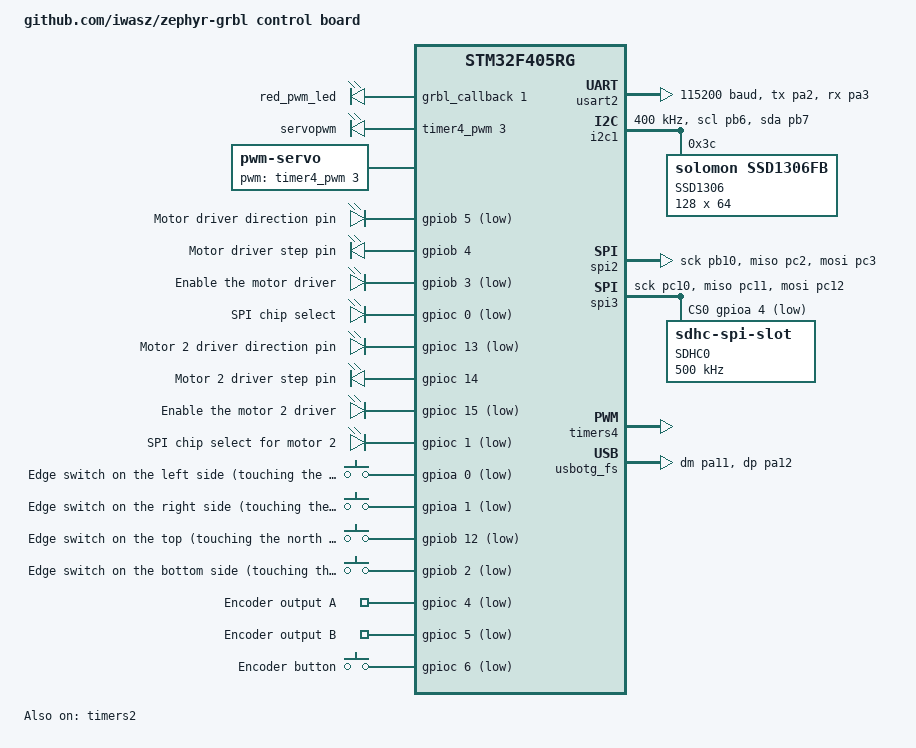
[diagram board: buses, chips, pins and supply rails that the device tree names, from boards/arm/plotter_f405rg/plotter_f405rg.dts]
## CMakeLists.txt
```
# SPDX-License-Identifier: Apache-2.0

list(APPEND ZEPHYR_EXTRA_MODULES
  ${CMAKE_CURRENT_SOURCE_DIR}/modules/hw_timer
)

cmake_minimum_required(VERSION 3.22.2)
set(BOARD_ROOT ${CMAKE_CURRENT_LIST_DIR})
find_package(Zephyr REQUIRED HINTS $ENV{ZEPHYR_BASE})
include(${ZEPHYR_BASE}/cmake/cfb.cmake NO_POLICY_SCOPE)
project(plotter)

include_directories (src)
include_directories (deps/TMC2130Stepper/src)
include_directories (deps/etl/include/)
include_directories (deps/gsl-lite/include)
include_directories (deps/gnea-grbl) # Warning! It has limits.h file which interferes with libc
include_directories (deps/compile-time-regular-expressions/include)
include_directories (deps/libstate/src)

add_definitions("-DDEFAULTS_ZEPHYR_GRBL_PLOTTER")

target_sources(app PRIVATE
    src/main.cc
    src/zephyrGrblPeripherals.cc
    src/stepperDriverSettings.cc
    src/grblState.cc
    src/sdCard.cc
    src/display.cc

    # deps/TMC2130Stepper/src/source/SW_SPI.cpp
    deps/TMC2130Stepper/src/source/TMC2130Stepper_CHOPCONF.cpp
    deps/TMC2130Stepper/src/source/TMC2130Stepper_COOLCONF.cpp
    deps/TMC2130Stepper/src/source/TMC2130Stepper_DRV_STATUS.cpp
    deps/TMC2130Stepper/src/source/TMC2130Stepper_GCONF.cpp
    deps/TMC2130Stepper/src/source/TMC2130Stepper_IHOLD_IRUN.cpp
    deps/TMC2130Stepper/src/source/TMC2130Stepper_MACROS.h
    deps/TMC2130Stepper/src/source/TMC2130Stepper_PWMCONF.cpp
    deps/TMC2130Stepper/src/source/TMC2130Stepper.cpp

    deps/gnea-grbl/grbl/coolant_control.c
    deps/gnea-grbl/grbl/eeprom.c
    deps/gnea-grbl/grbl/gcode.c
    deps/gnea-grbl/grbl/jog.c
    deps/gnea-grbl/grbl/limits.c
    deps/gnea-grbl/grbl/main.c
    deps/gnea-grbl/grbl/motion_control.c
    deps/gnea-grbl/grbl/nuts_bolts.c
    deps/gnea-grbl/grbl/planner.c
    deps/gnea-grbl/grbl/print.c
    deps/gnea-grbl/grbl/probe.c
    deps/gnea-grbl/grbl/protocol.c
    deps/gnea-grbl/grbl/report.c
    deps/gnea-grbl/grbl/serial.c
    deps/gnea-grbl/grbl/settings.c
    deps/gnea-grbl/grbl/spindle_control.c
    deps/gnea-grbl/grbl/stepper.c
    deps/gnea-grbl/grbl/system.c
)

set(gen_dir ${ZEPHYR_BINARY_DIR}/include/generated/)
generate_cfb_font_for_target(app fonts/oldschool-black-format.png ${gen_dir}/cfb_font_oldschool.h 7 8 --first 32 --last 126)
```

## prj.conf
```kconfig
CONFIG_SPI=y
CONFIG_GPIO=y
CONFIG_CONSOLE=y
CONFIG_UART_CONSOLE=y
CONFIG_SERIAL=y
CONFIG_SPI_ASYNC=y
CONFIG_SPI_STM32_INTERRUPT=y
CONFIG_SPI_STM32_DMA=n
CONFIG_PINCTRL=y
CONFIG_NEWLIB_LIBC=y
CONFIG_CPP=y
CONFIG_STD_CPP2A=y
CONFIG_REQUIRES_FULL_LIBCPP=y
CONFIG_GLIBCXX_LIBCPP=y
CONFIG_CPP_EXCEPTIONS=y
CONFIG_STD_CPP20=y

# CONFIG_BOOT_DELAY=1000
CONFIG_LOG=y
# CONFIG_NO_OPTIMIZATIONS=y
# CONFIG_DEBUG_OPTIMIZATIONS=y
CONFIG_SPEED_OPTIMIZATIONS=y
# CONFIG_HW_TIMER_LOG_LEVEL_DBG=y

CONFIG_USB_DEVICE_STACK=y
CONFIG_USB_DEVICE_PRODUCT="Zephyr GRBL plotter"
CONFIG_USB_DEVICE_MANUFACTURER="iwasz.pl"
CONFIG_USB_DRIVER_LOG_LEVEL_ERR=y
CONFIG_USB_DEVICE_LOG_LEVEL_ERR=y
CONFIG_USB_DEVICE_VID=0x20A0
CONFIG_USB_DEVICE_PID=0x41ff
CONFIG_USB_WORKQUEUE_STACK_SIZE=8192
# ??
CONFIG_UART_LINE_CTRL=y

# SD CARD over SPI link
CONFIG_DISK_ACCESS=y
CONFIG_FILE_SYSTEM=y
CONFIG_FAT_FILESYSTEM_ELM=y
CONFIG_PRINTK=y
CONFIG_SDHC=y
CONFIG_DISK_DRIVER_SDMMC=y
# CONFIG_SDMMC_OVER_SPI=y
CONFIG_FS_FATFS_LFN=y
CONFIG_MMC_STACK=y

CONFIG_MAIN_STACK_SIZE=8192
CONFIG_ISR_STACK_SIZE=8192
CONFIG_COMPILER_OPT="-Wall -Werror=return-type"
CONFIG_PWM=y
# CONFIG_PWM_LOG_LEVEL_DBG=y
CONFIG_DYNAMIC_INTERRUPTS=y

CONFIG_CBPRINTF_FP_SUPPORT=y
CONFIG_CBPRINTF_LIBC_SUBSTS=y
CONFIG_UART_ASYNC_API=n
CONFIG_UART_INTERRUPT_DRIVEN=y
CONFIG_DMA=n

CONFIG_HW_TIMER_DRIVER=y
CONFIG_APPLICATION_DEFINED_SYSCALL=y

CONFIG_SHELL=n
CONFIG_MAIN_THREAD_PRIORITY=13
# in ms.
CONFIG_TIMESLICE_SIZE=1
CONFIG_TIMESLICING=y

CONFIG_FLASH=y
CONFIG_FLASH_PAGE_LAYOUT=y
CONFIG_NVS=y
CONFIG_NVS_LOG_LEVEL_DBG=y
CONFIG_MPU_ALLOW_FLASH_WRITE=y
CONFIG_REBOOT=y

# CONFIG_BOOTLOADER_MCUBOOT=y
# CONFIG_MCUBOOT_GENERATE_CONFIRMED_IMAGE=y
# CONFIG_MCUBOOT_SIGNATURE_KEY_FILE="/home/iwasz/workspace/zephyrproject/bootloader/mcuboot/root-rsa-2048.pem"

CONFIG_SSD1306=y
CONFIG_I2C=y
CONFIG_SSD1306_SH1106_COMPATIBLE=y
CONFIG_DISPLAY=y
CONFIG_CFB_LOG_LEVEL_DBG=y
CONFIG_CHARACTER_FRAMEBUFFER=y
CONFIG_HEAP_MEM_POOL_SIZE=16384
CONFIG_DISPLAY_INIT_PRIORITY=99
```

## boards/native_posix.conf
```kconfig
CONFIG_SDL_DISPLAY_DEV_NAME="DISPLAY"
CONFIG_SDL_DISPLAY_X_RES=128
CONFIG_SDL_DISPLAY_Y_RES=64

CONFIG_STDOUT_CONSOLE=y

CONFIG_HEAP_MEM_POOL_SIZE=16384

CONFIG_DISPLAY=y

CONFIG_LOG=y

CONFIG_CFB_LOG_LEVEL_DBG=y
CONFIG_CHARACTER_FRAMEBUFFER=y
CONFIG_NO_OPTIMIZATIONS=y

CONFIG_SERIAL=y
CONFIG_UART_NATIVE_POSIX=y
CONFIG_NATIVE_UART_0_ON_OWN_PTY=y

CONFIG_CONSOLE=y
CONFIG_UART_CONSOLE=n
CONFIG_UART_NATIVE_WAIT_PTS_READY_ENABLE=y

CONFIG_SHELL=y
```

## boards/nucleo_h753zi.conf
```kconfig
CONFIG_SSD1306=y
CONFIG_I2C=y
CONFIG_SSD1306_SH1106_COMPATIBLE=y
```

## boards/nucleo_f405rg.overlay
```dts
/ {
	aliases {
		// USed for communication between GRBL and the host computer.
		grbluart = &cdc_acm;
		grblpwm =  &red_pwm_led;
	};

	pwmleds { // TODO remove this, as this is not used. PWM parametrers are set at run time using pwm_pin_set_usec (pwm, PWM_CHANNEL, PERIOD_USEC, 0, PWM_FLAGS);
		compatible = "pwm-leds";

		red_pwm_led: red_pwm_led {
			pwms = <&grbl_callback 1 4 PWM_POLARITY_NORMAL>;
		};
	};

	chosen {
		zephyr,code-partition = &slot0_partition;
	};

	motor1_pins { // Motor with the shorter cable.
		compatible = "gpio-leds";

		dir {
			gpios = <&gpioa 0 GPIO_ACTIVE_HIGH>;
			label = "Motor driver direction pin";
		};

		step {
			gpios = <&gpioa 1 GPIO_ACTIVE_HIGH>;
			label = "Motor driver step pin";
		};

		enable { // High state on CFG6 / EN pin turns off the curents completely. Thus Active low.
			gpios = <&gpiob 1 GPIO_ACTIVE_LOW>;
			label = "Enable the motor driver";
		};

		nss {
			gpios = <&gpiob 0 GPIO_ACTIVE_HIGH>;
			label = "SPI chip select";
		};
	};

	motor2_pins { // With the longer cable.
		compatible = "gpio-leds";

		dir {
			gpios = <&gpioc 1 GPIO_ACTIVE_LOW>;
			label = "Motor 2 driver direction pin";
		};

		step {
			gpios = <&gpioc 0 GPIO_ACTIVE_HIGH>;
			label = "Motor 2 driver step pin";
		};

		enable {
			gpios = <&gpioc 8 GPIO_ACTIVE_LOW>;
			label = "Enable the motor 2 driver";
		};

		nss {
			gpios = <&gpioc 6 GPIO_ACTIVE_HIGH>;
			label = "SPI chip select for motor 2";
		};
	};

	motorz_pins { // Currently not used
		compatible = "gpio-leds";

		dir {
			gpios = <&gpioe 10 GPIO_ACTIVE_HIGH>;
			label = "Motor 3 driver direction pin";
		};

		step {
			gpios = <&gpioe 12 GPIO_ACTIVE_HIGH>;
			label = "Motor 3 driver step pin";
		};

		enable {
			gpios = <&gpioe 14 GPIO_ACTIVE_LOW>;
			label = "Enable the motor 3 driver";
		};

		nss {
			gpios = <&gpioe 15 GPIO_ACTIVE_HIGH>;
			label = "SPI chip select for motor 3";
		};
	};

	edge_switch_pins {
		compatible = "gpio-keys";

		left {// Something wrong with this one
			gpios = <&gpiob 7 (GPIO_ACTIVE_LOW| GPIO_PULL_UP)>;
			label = "Edge switch on the left side (touching the west attachment)";
		};

		right {
			gpios = <&gpioa 15 (GPIO_ACTIVE_LOW| GPIO_PULL_UP)>;
			label = "Edge switch on the right side (touching the east attachment)";
		};

		top {
			gpios = <&gpiob 3 (GPIO_ACTIVE_LOW| GPIO_PULL_UP)>;
			label = "Edge switch on the top (touching the north attachment)";
		};

		bottom {
			gpios = <&gpioc 11 (GPIO_ACTIVE_LOW| GPIO_PULL_UP)>;
			label = "Edge switch on the bottom side (touching the pen holder)";
		};

		motor1_stall { // Currently not used
			gpios = <&gpioc 10 (GPIO_ACTIVE_HIGH | GPIO_PULL_DOWN)>;
			label = "Motor 1 stall diagnostic output. Detects when the motor stalls.";
		};

		motor2_stall { // Currently not used
			gpios = <&gpioc 12 (GPIO_ACTIVE_HIGH | GPIO_PULL_DOWN)>;
			label = "Motor 2 stall diagnostic output. Detects when the motor stalls.";
		};
	};
};

&i2c1 {
	status = "disabled";
};

&i2c2 {
	status = "disabled";
};

// SPI interface for SDIO
&spi2 {
	status = "okay";
	pinctrl-0 = <&spi2_sck_pb10 &spi2_mosi_pc3 &spi2_miso_pc2 &spi2_nss_pb12>;

	sdhc0: sdhc@0 {
		compatible = "zephyr,mmc-spi-slot";
		reg = <0>;
		status = "okay";
		label = "SDHC0";
		spi-max-frequency = <500000>;
	};
};

&timers4 {
	status = "okay";

	axis_z: pwm {
		status = "okay";
		st,prescaler = <40>; // When CPU@168 MHz, timer2 gets 84MHz. So tim. period is ~31ms. 1/(84MHz/40)*65535
		pinctrl-0 = <&tim4_ch3_pb8>;
	};
};

&timers2 {// Timer2 as well as timer5 are 32 bit.
	status = "okay";

	/*
	 * This node is defined as a child of timer node, becuase it references some properties
	 * of its parent. In this particular case it needs an IRQ number. Look for DT_IRQ_BY_IDX(DT_PARENT (...))
	 * in the code.
	 */
	grbl_callback: hw_timer {
		compatible = "st,stm32-hw-timer";
		status = "okay";
		st,prescaler = <10>; // 168MHz -> 84MHz to timer, prescaled by 10 == 8.4MHz. So min period == 1/8.4M, max period == (1/8.4M)*2^32
		label = "GRBL_CALLBACK";
		#pwm-cells = <3>;
	};
};

&clk_hsi {
	status = "okay";
};

&pll {
	div-m = <16>;
	mul-n = <336>;
	div-p = <2>;
	div-q = <7>;  /* 336 / 7 = 48 ! */
	clocks = <&clk_hsi>;
	status = "okay";
};

&rcc {
	clocks = <&pll>;
	clock-frequency = <DT_FREQ_M(168)>;
	ahb-prescaler = <1>;
	apb1-prescaler = <4>;
	apb2-prescaler = <2>;
};

zephyr_udc0: &usbotg_fs {
	pinctrl-0 = <&usb_otg_fs_dm_pa11 &usb_otg_fs_dp_pa12>;
	status = "okay";

	cdc_acm: mcdc_acm_uart0 {
		compatible = "zephyr,cdc-acm-uart";
		label = "CDC_ACM_0";
	};
};

// &flash0 {

	//     partitions {
		//         compatible = "fixed-partitions";
		//         #address-cells = <1>;
		//         #size-cells = <1>;

		//         boot_partition: partition@0 {
			//             label = "mcuboot";
			//             reg = <0x00000000 0x00008000>;
			//             read-only;
		//         };

		//         storage0_partition: partition@8000 {
			//             label = "storage0";
			//             reg = <0x00008000 0x0008000>;
		//         };
	//     };
// };
```

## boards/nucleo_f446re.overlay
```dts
/ {
	aliases {
		// USed for communication between GRBL and the host computer.
		grbluart = &cdc_acm;
		grblpwm =  &red_pwm_led;
	};

	pwmleds { // TODO remove this, as this is not used. PWM parametrers are set at run time using pwm_pin_set_usec (pwm, PWM_CHANNEL, PERIOD_USEC, 0, PWM_FLAGS);
		compatible = "pwm-leds";

		red_pwm_led: red_pwm_led {
			pwms = <&grbl_callback 1 4 PWM_POLARITY_NORMAL>;
		};
	};

	motor1_pins { // Motor with the shorter cable.
		compatible = "gpio-leds";

		dir {
			gpios = <&gpioa 0 GPIO_ACTIVE_HIGH>;
			label = "Motor driver direction pin";
		};

		step {
			gpios = <&gpioa 1 GPIO_ACTIVE_HIGH>;
			label = "Motor driver step pin";
		};

		enable { // High state on CFG6 / EN pin turns off the curents completely. Thus Active low.
			gpios = <&gpiob 1 GPIO_ACTIVE_LOW>;
			label = "Enable the motor driver";
		};

		nss {
			gpios = <&gpiob 0 GPIO_ACTIVE_HIGH>;
			label = "SPI chip select";
		};
	};

	motor2_pins { // With the longer cable.
		compatible = "gpio-leds";

		dir {
			gpios = <&gpioc 1 GPIO_ACTIVE_LOW>;
			label = "Motor 2 driver direction pin";
		};

		step {
			gpios = <&gpioc 0 GPIO_ACTIVE_HIGH>;
			label = "Motor 2 driver step pin";
		};

		enable {
			gpios = <&gpioc 8 GPIO_ACTIVE_LOW>;
			label = "Enable the motor 2 driver";
		};

		nss {
			gpios = <&gpioc 6 GPIO_ACTIVE_HIGH>;
			label = "SPI chip select for motor 2";
		};
	};

	motorz_pins { // Currently not used
		compatible = "gpio-leds";

		dir {
			gpios = <&gpioe 10 GPIO_ACTIVE_HIGH>;
			label = "Motor 3 driver direction pin";
		};

		step {
			gpios = <&gpioe 12 GPIO_ACTIVE_HIGH>;
			label = "Motor 3 driver step pin";
		};

		enable {
			gpios = <&gpioe 14 GPIO_ACTIVE_LOW>;
			label = "Enable the motor 3 driver";
		};

		nss {
			gpios = <&gpioe 15 GPIO_ACTIVE_HIGH>;
			label = "SPI chip select for motor 3";
		};
	};

	edge_switch_pins {
		compatible = "gpio-keys";

		left {// Something wrong with this one
			gpios = <&gpiob 7 (GPIO_ACTIVE_LOW| GPIO_PULL_UP)>;
			label = "Edge switch on the left side (touching the west attachment)";
		};

		right {
			gpios = <&gpioa 15 (GPIO_ACTIVE_LOW| GPIO_PULL_UP)>;
			label = "Edge switch on the right side (touching the east attachment)";
		};

		top {
			gpios = <&gpiob 3 (GPIO_ACTIVE_LOW| GPIO_PULL_UP)>;
			label = "Edge switch on the top (touching the north attachment)";
		};

		bottom {
			gpios = <&gpioc 11 (GPIO_ACTIVE_LOW| GPIO_PULL_UP)>;
			label = "Edge switch on the bottom side (touching the pen holder)";
		};

		motor1_stall { // Currently not used
			gpios = <&gpioc 10 (GPIO_ACTIVE_HIGH | GPIO_PULL_DOWN)>;
			label = "Motor 1 stall diagnostic output. Detects when the motor stalls.";
		};

		motor2_stall { // Currently not used
			gpios = <&gpioc 12 (GPIO_ACTIVE_HIGH | GPIO_PULL_DOWN)>;
			label = "Motor 2 stall diagnostic output. Detects when the motor stalls.";
		};
	};
};

&i2c1 {
	status = "disabled";
};

&i2c2 {
	status = "disabled";
};

// SPI interface for SDIO
&spi2 {
	status = "okay";
	pinctrl-0 = <&spi2_sck_pb10 &spi2_mosi_pc3 &spi2_miso_pc2 &spi2_nss_pb12>;

	sdhc0: sdhc@0 {
		compatible = "zephyr,mmc-spi-slot";
		reg = <0>;
		status = "okay";
		label = "SDHC0";
		spi-max-frequency = <500000>;
	};
};

&timers4 {
	status = "okay";

	axis_z: pwm {
		status = "okay";
		st,prescaler = <40>; // When CPU@168 MHz, timer2 gets 84MHz. So tim. period is ~31ms. 1/(84MHz/40)*65535
		pinctrl-0 = <&tim4_ch3_pb8>;
	};
};

&timers2 {// Timer2 as well as timer5 are 32 bit.
	status = "okay";

	/*
	 * This node is defined as a child of timer node, becuase it references some properties
	 * of its parent. In this particular case it needs an IRQ number. Look for DT_IRQ_BY_IDX(DT_PARENT (...))
	 * in the code.
	 */
	grbl_callback: hw_timer {
		compatible = "st,stm32-hw-timer";
		status = "okay";
		st,prescaler = <10>; // 168MHz -> 84MHz to timer, prescaled by 10 == 8.4MHz. So min period == 1/8.4M, max period == (1/8.4M)*2^32
		label = "GRBL_CALLBACK";
		#pwm-cells = <3>;
	};
};

&clk_hsi {
	status = "okay";
};

&pll {
	div-m = <16>;
	mul-n = <336>;
	div-p = <2>;
	div-q = <7>;  /* 336 / 7 = 48 ! */
	clocks = <&clk_hsi>;
	status = "okay";
};

&rcc {
	clocks = <&pll>;
	clock-frequency = <DT_FREQ_M(168)>;
	ahb-prescaler = <1>;
	apb1-prescaler = <4>;
	apb2-prescaler = <2>;
};

zephyr_udc0: &usbotg_fs {
	pinctrl-0 = <&usb_otg_fs_dm_pa11 &usb_otg_fs_dp_pa12>;
	status = "okay";

	cdc_acm: mcdc_acm_uart0 {
		compatible = "zephyr,cdc-acm-uart";
		label = "CDC_ACM_0";
	};
};

&flash0 {

	partitions {
		compatible = "fixed-partitions";
		#address-cells = <1>;
		#size-cells = <1>;

		boot_partition: partition@0 {
			label = "mcuboot";
			reg = <0x00000000 0x00008000>;
			read-only;
		};

		storage0_partition: partition@8000 {
			label = "storage0";
			reg = <0x00008000 0x0008000>;
		};
	};
};
```

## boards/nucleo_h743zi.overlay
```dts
/ {
	aliases {
		grbluart = &usart3;
		grblpwm =  &red_pwm_led;
	};

	pwmleds {
		compatible = "pwm-leds";

		// red_pwm_led: red_pwm_led {
			//     pwms = <&pwm12 1 4 PWM_POLARITY_NORMAL>;
		// };
	};

	motor1_pins {
		compatible = "gpio-leds";

		dir {
			gpios = <&gpioa 0 GPIO_ACTIVE_HIGH>;
			label = "Motor driver direction pin";
		};

		step {
			gpios = <&gpioa 1 GPIO_ACTIVE_HIGH>;
			label = "Motor driver step pin";
		};

		enable {
			gpios = <&gpioa 4 GPIO_ACTIVE_LOW>;
			label = "Enable the motor driver";
		};

		nss {
			gpios = <&gpiob 0 GPIO_ACTIVE_HIGH>;
			label = "SPI chip select";
		};
	};

	motor2_pins {
		compatible = "gpio-leds";

		dir {
			gpios = <&gpioc 1 GPIO_ACTIVE_HIGH>;
			label = "Motor 2 driver direction pin";
		};

		step {
			gpios = <&gpioc 0 GPIO_ACTIVE_HIGH>;
			label = "Motor 2 driver step pin";
		};

		enable {
			gpios = <&gpiod 3 GPIO_ACTIVE_LOW>;
			label = "Enable the motor 2 driver";
		};

		nss {
			gpios = <&gpiog 2 GPIO_ACTIVE_HIGH>;
			label = "SPI chip select for motor 2";
		};
	};

	motorz_pins {
		compatible = "gpio-leds";

		dir {
			gpios = <&gpioe 10 GPIO_ACTIVE_HIGH>;
			label = "Motor 3 driver direction pin";
		};

		step {
			gpios = <&gpioe 12 GPIO_ACTIVE_HIGH>;
			label = "Motor 3 driver step pin";
		};

		enable {
			gpios = <&gpioe 14 GPIO_ACTIVE_LOW>;
			label = "Enable the motor 3 driver";
		};

		nss {
			gpios = <&gpioe 15 GPIO_ACTIVE_HIGH>;
			label = "SPI chip select for motor 3";
		};
	};

	edge_switch_pins {
		compatible = "gpio-keys";

		left {// Something wrong with this one
			gpios = <&gpioe 2 (GPIO_ACTIVE_HIGH | GPIO_PULL_DOWN)>;
			label = "Edge switch on the left side (touching the west attachment)";
		};

		right {
			gpios = <&gpioe 4 (GPIO_ACTIVE_HIGH | GPIO_PULL_DOWN)>;
			label = "Edge switch on the right side (touching the east attachment)";
		};

		top {
			gpios = <&gpioe 5 (GPIO_ACTIVE_HIGH | GPIO_PULL_DOWN)>;
			label = "Edge switch on the top (touching the north attachment)";
		};

		bottom {
			gpios = <&gpiof 8 (GPIO_ACTIVE_HIGH | GPIO_PULL_DOWN)>;
			label = "Edge switch on the bottom side (touching the pen holder)";
		};

		motor1_stall {
			gpios = <&gpiof 9 (GPIO_ACTIVE_HIGH | GPIO_PULL_DOWN)>;
			label = "Motor 1 stall diagnostic output. Detects when the motor stalls.";
		};

		motor2_stall {
			gpios = <&gpiog 1 (GPIO_ACTIVE_HIGH | GPIO_PULL_DOWN)>;
			label = "Motor 2 stall diagnostic output. Detects when the motor stalls.";
		};
	};
};

&spi2 {
	status = "okay";
	pinctrl-0 = <&spi2_sck_pb10 &spi2_mosi_pc3 &spi2_miso_pc2 &spi2_nss_pb12>;

	sdhc0: sdhc@0 {
		compatible = "zephyr,mmc-spi-slot";
		reg = <0>;
		status = "okay";
		label = "SDHC0";
		spi-max-frequency = <500000>;
	};
};

// &timers12 {
	//     status = "okay";

	//     pwm12: pwm {
		//         status = "okay";
		//         st,prescaler = <10>;
	//     };
// };

&timers12 {
	status = "okay";

	grbl_callback: hw_timer {
		compatible = "st,stm32-hw-timer";
		status = "okay";
		st,prescaler = <10>;
		label = "HW_TIMER_12";
		#pwm-cells = <3>;
	};
};


&usart3 {
	dmas = <&dma2 3 3 0x400 0x3>,
		   <&dma2 2 3 0x400 0x3>;
	dma-names = "tx", "rx";
};

&dma2 {
	status = "okay";
};
```

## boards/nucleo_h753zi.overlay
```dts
&i2c1 {
	status = "okay";
	clock-frequency = <I2C_BITRATE_STANDARD>;

	ssd1306@3c {
		compatible = "solomon,ssd1306fb";
		reg = <0x3c>;
		label = "SSD1306";
		width = <128>;
		height = <64>;
		segment-offset = <0>;
		page-offset = <0>;
		display-offset = <0>;
		multiplex-ratio = <63>;
		segment-remap;
		com-invdir;
		prechargep = <0x22>;
	};
};
```

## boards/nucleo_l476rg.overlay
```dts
/ {
	aliases {
		grbluart = &usart2;
		grblpwm =  &red_pwm_led;
	};

	pwmleds {
		compatible = "pwm-leds";

		red_pwm_led: red_pwm_led {
			pwms = <&pwm1 1 4 PWM_POLARITY_NORMAL>;
		};
	};

	motor1_pins {
		compatible = "gpio-leds";

		dir {
			gpios = <&gpioa 0 GPIO_ACTIVE_HIGH>;
			label = "Motor driver direction pin";
		};

		step {
			gpios = <&gpioa 1 GPIO_ACTIVE_HIGH>;
			label = "Motor driver step pin";
		};

		enable {
			gpios = <&gpioa 4 GPIO_ACTIVE_LOW>;
			label = "Enable the motor driver";
		};

		nss {
			gpios = <&gpiob 0 GPIO_ACTIVE_HIGH>;
			label = "SPI chip select";
		};
	};

	motor2_pins {
		compatible = "gpio-leds";

		dir {
			gpios = <&gpioc 1 GPIO_ACTIVE_HIGH>;
			label = "Motor 2 driver direction pin";
		};

		step {
			gpios = <&gpioc 0 GPIO_ACTIVE_HIGH>;
			label = "Motor 2 driver step pin";
		};

		enable {
			gpios = <&gpiod 3 GPIO_ACTIVE_LOW>;
			label = "Enable the motor 2 driver";
		};

		nss {
			gpios = <&gpiog 2 GPIO_ACTIVE_HIGH>;
			label = "SPI chip select for motor 2";
		};
	};

	motorz_pins {
		compatible = "gpio-leds";

		dir {
			gpios = <&gpioe 10 GPIO_ACTIVE_HIGH>;
			label = "Motor 3 driver direction pin";
		};

		step {
			gpios = <&gpioe 12 GPIO_ACTIVE_HIGH>;
			label = "Motor 3 driver step pin";
		};

		enable {
			gpios = <&gpioe 14 GPIO_ACTIVE_LOW>;
			label = "Enable the motor 3 driver";
		};

		nss {
			gpios = <&gpioe 15 GPIO_ACTIVE_HIGH>;
			label = "SPI chip select for motor 3";
		};
	};

	edge_switch_pins {
		compatible = "gpio-keys";

		left {// Something wrong with this one
			gpios = <&gpioe 2 (GPIO_ACTIVE_HIGH | GPIO_PULL_DOWN)>;
			label = "Edge switch on the left side (touching the west attachment)";
		};

		right {
			gpios = <&gpioe 4 (GPIO_ACTIVE_HIGH | GPIO_PULL_DOWN)>;
			label = "Edge switch on the right side (touching the east attachment)";
		};

		top {
			gpios = <&gpioe 5 (GPIO_ACTIVE_HIGH | GPIO_PULL_DOWN)>;
			label = "Edge switch on the top (touching the north attachment)";
		};

		bottom {
			gpios = <&gpiof 8 (GPIO_ACTIVE_HIGH | GPIO_PULL_DOWN)>;
			label = "Edge switch on the bottom side (touching the pen holder)";
		};

		motor1_stall {
			gpios = <&gpiof 9 (GPIO_ACTIVE_HIGH | GPIO_PULL_DOWN)>;
			label = "Motor 1 stall diagnostic output. Detects when the motor stalls.";
		};

		motor2_stall {
			gpios = <&gpiog 1 (GPIO_ACTIVE_HIGH | GPIO_PULL_DOWN)>;
			label = "Motor 2 stall diagnostic output. Detects when the motor stalls.";
		};
	};
};

/*
&spi2 {
	status = "okay";
	pinctrl-0 = <&spi2_sck_pb10 &spi2_mosi_pc3 &spi2_miso_pc2 &spi2_nss_pb12>;

	sdhc0: sdhc@0 {
		compatible = "zephyr,mmc-spi-slot";
		reg = <0>;
		status = "okay";
		label = "SDHC0";
		spi-max-frequency = <500000>;
	};
};
 */

&timers1 {
	status = "okay";

	pwm1: pwm {
		status = "okay";
		st,prescaler = <10>;
	};
};

/*
 * What does the "<&dma1 7 2 0x440 0x3>" mean? It's a cell (array of 32bit integers) whose fields mean:
 *
 * &dma1: reference to dma1
 * 7: channel number 7
 * 2: request number 2
 * 0x440:
 * (bit 10 is set) : increment memory addres after DMA request
 * (bits 6-7 == 0b01) : MEM to PERIPH
 * 0x03: not used. Dummy value.
 *
 * Note: even with improper DMA configuration (to some extent: eg. &dma2 instead of &dma1 or wrong channel), the UART2 still worked.
 * I suspect it felt back to some default polling mode, or even more probably, the initialization failed, but I used the same usart
 * which is used for logging, so it was already initialized.
 */
&usart2 {
	dmas = <&dma1 7 2 0x440 0x3>,
		   <&dma1 6 2 0x480 0x3>;
	dma-names = "tx", "rx";
};

&dma1 {
	status = "okay";
};
```

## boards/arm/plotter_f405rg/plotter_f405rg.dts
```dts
/dts-v1/;
#include <st/f4/stm32f405Xg.dtsi>
#include <st/f4/stm32f405rgtx-pinctrl.dtsi>

/ {
	model = "github.com/iwasz/zephyr-grbl control board";
	compatible = "iwasz,stm32f405rg-plotter";

	chosen {
		zephyr,console = &usart2;
		zephyr,shell-uart = &usart2;
		zephyr,sram = &sram0;
		zephyr,flash = &flash0;
		zephyr,code-partition = &slot0_partition;
	};

	aliases {
		// USed for communication between GRBL and the host computer.
		grbluart = &cdc_acm;
		grblpwm =  &red_pwm_led;
		// servopwm = &timer4_pwm;
		motorspi = &spi2;
		sdcardspi = &spi3;
		displayi2c = &i2c1;
	};

	pwmleds { // TODO remove this, as this is not used. PWM parametrers are set at run time using pwm_pin_set_usec (pwm, PWM_CHANNEL, PERIOD_USEC, 0, PWM_FLAGS);
		compatible = "pwm-leds";

		red_pwm_led: red_pwm_led {
			pwms = <&grbl_callback 1 PWM_MSEC(1) PWM_POLARITY_NORMAL>;
		};
	};

	servopwms {
		compatible = "pwm-leds";

		servopwm: servopwm{
			pwms = <&timer4_pwm 3 PWM_MSEC(20) PWM_POLARITY_NORMAL>;
		};
	};

	// TODO Why this doesn't work?
	servo: servo {
		compatible = "pwm-servo";
		pwms = <&timer4_pwm 3 PWM_MSEC(20) PWM_POLARITY_NORMAL>;
		min-pulse = <PWM_USEC(700)>;
		max-pulse = <PWM_USEC(2500)>;
	};

	motor2_pins { // Motor with the shorter cable.
		compatible = "gpio-leds";

		dir {
			gpios = <&gpiob 5 GPIO_ACTIVE_LOW>;
			label = "Motor driver direction pin";
		};

		step {
			gpios = <&gpiob 4 GPIO_ACTIVE_HIGH>;
			label = "Motor driver step pin";
		};

		enable { // High state on CFG6 / EN pin turns off the curents completely. Thus Active low.
			gpios = <&gpiob 3 GPIO_ACTIVE_LOW>;
			label = "Enable the motor driver";
		};

		nss {
			gpios = <&gpioc 0 GPIO_ACTIVE_LOW>;
			label = "SPI chip select";
		};
	};

	motor1_pins { // With the longer cable.
		compatible = "gpio-leds";

		dir { // Warning! PC13 is connected to the blue pushbutton on nucleos!
			gpios = <&gpioc 13 GPIO_ACTIVE_LOW>;
			label = "Motor 2 driver direction pin";
		};

		step { // Warning! PC14 and PC15 are connected to the LSE crystal on nucleos.
			gpios = <&gpioc 14 GPIO_ACTIVE_HIGH>;
			// gpios = <&gpioc 11 GPIO_ACTIVE_HIGH>; // Nucleo
			label = "Motor 2 driver step pin";
		};

		enable {
			gpios = <&gpioc 15 GPIO_ACTIVE_LOW>; // Target board
			// gpios = <&gpioc 12 GPIO_ACTIVE_LOW>; // Nucleo
			label = "Enable the motor 2 driver";
		};

		nss {
			gpios = <&gpioc 1 GPIO_ACTIVE_LOW>;
			label = "SPI chip select for motor 2";
		};
	};

	edge_switch_pins {
		compatible = "gpio-keys";

		left {
			gpios = <&gpioa 0 (GPIO_ACTIVE_LOW| GPIO_PULL_UP)>;
			label = "Edge switch on the left side (touching the west attachment)";
		};

		right {
			gpios = <&gpioa 1 (GPIO_ACTIVE_LOW| GPIO_PULL_UP)>;
			label = "Edge switch on the right side (touching the east attachment)";
		};

		top {
			gpios = <&gpiob 12 (GPIO_ACTIVE_LOW| GPIO_PULL_UP)>;
			label = "Edge switch on the top (touching the north attachment)";
		};

		bottom {
			gpios = <&gpiob 2 (GPIO_ACTIVE_LOW| GPIO_PULL_UP)>;
			label = "Edge switch on the bottom side (touching the pen holder)";
		};

		// motor1_stall { // Currently not used
			//     gpios = <&gpioc 10 (GPIO_ACTIVE_HIGH | GPIO_PULL_DOWN)>;
			//     label = "Motor 1 stall diagnostic output. Detects when the motor stalls.";
		// };

		// motor2_stall { // Currently not used
			//     gpios = <&gpioc 12 (GPIO_ACTIVE_HIGH | GPIO_PULL_DOWN)>;
			//     label = "Motor 2 stall diagnostic output. Detects when the motor stalls.";
		// };
	};


	ui_buttons {
		compatible = "gpio-keys";

		encoder_a {
			gpios = <&gpioc 4 (GPIO_ACTIVE_LOW| GPIO_PULL_UP)>;
			label = "Encoder output A";
		};

		encoder_b {
			gpios = <&gpioc 5 (GPIO_ACTIVE_LOW| GPIO_PULL_UP)>;
			label = "Encoder output B";
		};

		enter {
			gpios = <&gpioc 6 (GPIO_ACTIVE_LOW| GPIO_PULL_UP)>;
			label = "Encoder button";
		};


	};
};

&usart2 {
	pinctrl-names = "default";
	pinctrl-0 = <&usart2_tx_pa2 &usart2_rx_pa3>;
	current-speed = <115200>;
	status = "okay";
};

&i2c1 {
	pinctrl-names = "default";
	pinctrl-0 = <&i2c1_scl_pb6 &i2c1_sda_pb7>;
	status = "okay";
	clock-frequency = <I2C_BITRATE_FAST>;

	ssd1306@3c {
		compatible = "solomon,ssd1306fb";
		reg = <0x3c>;
		label = "SSD1306";
		width = <128>;
		height = <64>;
		segment-offset = <2>;
		page-offset = <0>;
		display-offset = <0>;
		multiplex-ratio = <63>;
		segment-remap;
		com-invdir;
		prechargep = <0x22>;
	};
};

// SPI interface for SDIO
// &spi1 {
	//     pinctrl-0 = <&spi1_sck_pa5 &spi1_miso_pa6 &spi1_mosi_pa7>;
	//     // cs-gpios = <&gpioa 4 (GPIO_ACTIVE_LOW | GPIO_PULL_UP)>;
	//     cs-gpios = <&gpioc 7 (GPIO_ACTIVE_LOW | GPIO_PULL_UP)>;
	//     // spi1_sck_pb3 spi1_miso_pb4 spi1_mosi_pb5

	//     // pinctrl-0 = <&spi1_sck_pa5 &spi1_miso_pa6 &spi1_mosi_pa7>;
	//     // cs-gpios = <&gpiob 6 (GPIO_ACTIVE_LOW | GPIO_PULL_UP)>;

	//     status = "okay";

	//     sdhc0: sdhc@0 {
		//         compatible = "zephyr,mmc-spi-slot";
		//         reg = <0>;
		//         status = "okay";
		//         label = "SDHC0";
		//         spi-max-frequency = <500000>;
	//     };
// };

// SPI interface for the motor controllers
&spi2 {
	pinctrl-names = "default";
	pinctrl-0 = <&spi2_sck_pb10 &spi2_miso_pc2 &spi2_mosi_pc3>;
	status = "okay";
};

// SPI interface for the SD card
&spi3 {
	pinctrl-names = "default";
	pinctrl-0 = <&spi3_sck_pc10 &spi3_miso_pc11 &spi3_mosi_pc12>;
	cs-gpios = <&gpioa 4 (GPIO_ACTIVE_LOW | GPIO_PULL_UP)>;
	status = "okay";

	sdhc0: sdhc@0 {
		compatible = "zephyr,sdhc-spi-slot";
		reg = <0>;
		status = "okay";
		label = "SDHC0";
		spi-max-frequency = <500000>;

		mmc {
			compatible = "zephyr,sdmmc-disk";
			status = "okay";
		};
	};
};

&timers4 {
	status = "okay";
	st,prescaler = <40>; // When CPU@168 MHz, timer2 gets 84MHz. So tim. period is ~31ms. 1/(84MHz/40)*65535

	timer4_pwm: pwm {
		pinctrl-names = "default";
		status = "okay";
		pinctrl-0 = <&tim4_ch3_pb8>;
	};
};

&timers2 {// Timer2 as well as timer5 are 32 bit.
	status = "okay";

	/*
	 * This node is defined as a child of timer node, becuase it references some properties
	 * of its parent. In this particular case it needs an IRQ number. Look for DT_IRQ_BY_IDX(DT_PARENT (...))
	 * in the code.
	 */
	grbl_callback: hw_timer {
		compatible = "st,stm32-hw-timer";
		status = "okay";
		st,prescaler = <10>; // 168MHz -> 84MHz to timer, prescaled by 10 == 8.4MHz. So min period == 1/8.4M, max period == (1/8.4M)*2^32
		label = "GRBL_CALLBACK";
		#pwm-cells = <3>;
	};
};

&clk_hsi {
	status = "okay";
};

&pll {
	div-m = <16>;
	mul-n = <336>;
	div-p = <2>;
	div-q = <7>;  /* 336 / 7 = 48 ! */
	clocks = <&clk_hsi>;
	status = "okay";
};

&rcc {
	clocks = <&pll>;
	clock-frequency = <DT_FREQ_M(168)>;
	ahb-prescaler = <1>;
	apb1-prescaler = <4>;
	apb2-prescaler = <2>;
};

zephyr_udc0: &usbotg_fs {
	pinctrl-names = "default";
	pinctrl-0 = <&usb_otg_fs_dm_pa11 &usb_otg_fs_dp_pa12>;
	status = "okay";

	cdc_acm: mcdc_acm_uart0 {
		compatible = "zephyr,cdc-acm-uart";
		label = "CDC_ACM_0";
	};
};

&flash0 {

	partitions {
		compatible = "fixed-partitions";
		#address-cells = <1>;
		#size-cells = <1>;

		// Sectors 0 (16kB), 1 (16kB). Only 32kB for the MCUBoot
		boot_partition: partition@0 {
			label = "mcuboot";
			reg = <0x00000000 0x00008000>;
			read-only;
		};

		// Sectors 2 (16kB), 3 (16kB)
		storage_partition: partition@8000 {
			label = "storage";
			reg = <0x00008000 0x00080000>;
		};

		// Sector 4 (64kB) Free.

		// Sectors 5 (128kB), 6 (128kB) and 7 (128kB).
		slot0_partition: partition@20000 {
			label = "image-0";
			reg = <0x00020000 0x00060000>;
		};

		// Sectors 8 (128kB), 9 (128kB) and 10 (128kB).
		slot1_partition: partition@40000 {
			label = "image-1";
			reg = <0x00080000 0x00060000>;
		};

		// Sector 11(128kB) Free

		// scratch_partition: partition@60000 {
			//     label = "image-scratch";
			//     reg = <0x00080000 0x00020000>;
		// };
	};
};

&backup_sram {
	status = "okay";
};
```

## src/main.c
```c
/*
 * Copyright (c) 2016 Intel Corporation
 *
 * SPDX-License-Identifier: Apache-2.0
 */

#include <device.h>
#include <devicetree.h>
#include <drivers/gpio.h>
#include <drivers/spi.h>
#include <zephyr.h>

#define MOTOR1_DIR_NODE DT_PATH (motor1_pins, dir)
#define MOTOR1_DIR_LABEL DT_GPIO_LABEL (MOTOR1_DIR_NODE, gpios)
#define MOTOR1_DIR_PIN DT_GPIO_PIN (MOTOR1_DIR_NODE, gpios)
#define MOTOR1_DIR_FLAGS DT_GPIO_FLAGS (MOTOR1_DIR_NODE, gpios)

#define MOTOR1_STEP_NODE DT_PATH (motor1_pins, step)
#define MOTOR1_STEP_LABEL DT_GPIO_LABEL (MOTOR1_STEP_NODE, gpios)
#define MOTOR1_STEP_PIN DT_GPIO_PIN (MOTOR1_STEP_NODE, gpios)
#define MOTOR1_STEP_FLAGS DT_GPIO_FLAGS (MOTOR1_STEP_NODE, gpios)

#define MOTOR1_ENABLE_NODE DT_PATH (motor1_pins, enable)
#define MOTOR1_ENABLE_LABEL DT_GPIO_LABEL (MOTOR1_ENABLE_NODE, gpios)
#define MOTOR1_ENABLE_PIN DT_GPIO_PIN (MOTOR1_ENABLE_NODE, gpios)
#define MOTOR1_ENABLE_FLAGS DT_GPIO_FLAGS (MOTOR1_ENABLE_NODE, gpios)

#define MOTOR1_NSS_NODE DT_PATH (motor1_pins, nss)
#define MOTOR1_NSS_LABEL DT_GPIO_LABEL (MOTOR1_NSS_NODE, gpios)
#define MOTOR1_NSS_PIN DT_GPIO_PIN (MOTOR1_NSS_NODE, gpios)
#define MOTOR1_NSS_FLAGS DT_GPIO_FLAGS (MOTOR1_NSS_NODE, gpios)

// TMC2130 registers
#define WRITE_FLAG (1 << 7) // write flag
#define READ_FLAG (0 << 7)  // read flag
#define REG_GCONF 0x00
#define REG_GSTAT 0x01
#define REG_IHOLD_IRUN 0x10
#define REG_CHOPCONF 0x6C
#define REG_COOLCONF 0x6D
#define REG_DCCTRL 0x6E
#define REG_DRVSTATUS 0x6F

int writeCmd (const struct device *spi, const struct spi_config *spi_cfg, uint8_t cmd, uint32_t value)
{
        // TODO htons.
        const struct spi_buf bufs[] = {{.buf = &cmd, .len = 1}, {.buf = &value, .len = 4}};
        const struct spi_buf_set bufSet = {.buffers = bufs, .count = 2};
        return spi_write (spi, spi_cfg, &bufSet);
}

void main (void)
{
        bool stepState = true;
        int ret;

        const struct device *dir = device_get_binding (MOTOR1_DIR_LABEL);

        if (dir == NULL) {
                return;
        }

        ret = gpio_pin_configure (dir, MOTOR1_DIR_PIN, GPIO_OUTPUT_ACTIVE | MOTOR1_DIR_FLAGS);

        if (ret < 0) {
                return;
        }

        /*--------------------------------------------------------------------------*/

        const struct device *step = device_get_binding (MOTOR1_STEP_LABEL);

        if (step == NULL) {
                return;
        }

        ret = gpio_pin_configure (step, MOTOR1_STEP_PIN, GPIO_OUTPUT_ACTIVE | MOTOR1_STEP_FLAGS);

        if (ret < 0) {
                return;
        }

        /*--------------------------------------------------------------------------*/

        const struct device *enable = device_get_binding (MOTOR1_ENABLE_LABEL);

        if (enable == NULL) {
                return;
        }

        ret = gpio_pin_configure (enable, MOTOR1_ENABLE_PIN, GPIO_OUTPUT_ACTIVE | MOTOR1_ENABLE_FLAGS);

        if (ret < 0) {
                return;
        }

        /*--------------------------------------------------------------------------*/

        const struct device *nss = device_get_binding (MOTOR1_NSS_LABEL);

        if (nss == NULL) {
                return;
        }

        ret = gpio_pin_configure (nss, MOTOR1_NSS_PIN, GPIO_OUTPUT_ACTIVE | MOTOR1_NSS_FLAGS);

        if (ret < 0) {
                return;
        }

        /*--------------------------------------------------------------------------*/

        gpio_pin_set (enable, MOTOR1_ENABLE_PIN, false);
        gpio_pin_set (dir, MOTOR1_DIR_PIN, false);

        /*--------------------------------------------------------------------------*/

        struct spi_config spi_cfg = {0};
        const struct device *spi = device_get_binding (DT_LABEL (DT_NODELABEL (spi2)));

        if (!spi) {
                printk ("Could not find SPI driver\n");
                return;
        }

        const struct spi_cs_control spiCs = {.gpio_dev = nss, .gpio_pin = MOTOR1_NSS_PIN, .delay = 0, .gpio_dt_flags = GPIO_ACTIVE_LOW};

        spi_cfg.operation = SPI_WORD_SET (8) | SPI_MODE_CPOL | SPI_MODE_CPHA;
        spi_cfg.frequency = 500000U;
        spi_cfg.cs = &spiCs;

        int err = writeCmd (spi, &spi_cfg, WRITE_FLAG | REG_GCONF, 0x00000001UL);
        err |= writeCmd (spi, &spi_cfg, WRITE_FLAG | REG_IHOLD_IRUN, 0x00001010UL);
        err |= writeCmd (spi, &spi_cfg, WRITE_FLAG | REG_CHOPCONF, 0x08008008UL);

        if (err) {
                printk ("Error writing to SPI! errro code (%d)\n", err);
                return;
        }

        /*--------------------------------------------------------------------------*/

        gpio_pin_set (enable, MOTOR1_ENABLE_PIN, true);

        while (1) {
                gpio_pin_set (step, MOTOR1_STEP_PIN, (int)stepState);
                stepState = !stepState;
                k_msleep (1);
        }
}
```

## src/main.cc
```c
/****************************************************************************
 *                                                                          *
 *  Author : lukasz.iwaszkiewicz@gmail.com                                  *
 *  ~~~~~~~~                                                                *
 *  License : see COPYING file for details.                                 *
 *  ~~~~~~~~~                                                               *
 ****************************************************************************/

#include "display.h"
#include "exception.h"
#include "hw_timer.h"
#include "sdCard.h"
#include "stepperDriverSettings.h"
#include "zephyrGrblPeripherals.h"
#include <zephyr/drivers/gpio.h>
#include <zephyr/drivers/pwm.h>
#include <zephyr/drivers/spi.h>
#include <zephyr/kernel.h>
#include <zephyr/logging/log.h>
#include <zephyr/sys/byteorder.h>
#include <zephyr/sys/reboot.h>

LOG_MODULE_REGISTER (main);

extern "C" int grblMain ();
void testStepperMotors ();

/**
 *
 */
int main ()
{
        try {
                sd::init ();
                mcuPeripheralsInit ();
                drv::init ();

                // init_nvs ();
                // k_sleep (K_SECONDS (1));
                // sys_reboot (0);

                // while (1) {
                //         k_sleep (K_SECONDS (1));
                // }

                grblMain ();
                // testStepperMotors ();
        }
        catch (exc::Exception const &e) {
                printk ("exc::Exception: %s\n", e.msg ().c_str ());
                // exc::pushFromThread (exc::Error{e});
                //  continue;
        }
        catch (std::exception const &e) {
                printk ("std::exception: %s\n", e.what ());
                // exc::pushFromThread (exc::Error{StatusCode::stdException, "Fatal exception"});
                // continue;
        }
        catch (...) {
                printk ("Unknown exception\n");
                // exc::pushFromThread (exc::Error{StatusCode::unknownException, "Unknown exception"});
                // continue;
        }
}

/**
 * Dummy function for motor testing.
 */
void testStepperMotors ()
{
        bool stepState{};
        bool dirState{};

        gpio_pin_set_dt (&enableX, GPIO_OUTPUT_ACTIVE);
        gpio_pin_set_dt (&enableY, GPIO_OUTPUT_ACTIVE);

        while (true) {
                gpio_pin_set_dt (&dirX, dirState);
                gpio_pin_set_dt (&dirY, dirState);
                dirState = !dirState;

                for (int i = 0; i < 10000; ++i) {
                        gpio_pin_set_dt (&stepX, stepState);
                        gpio_pin_set_dt (&stepY, stepState);
                        stepState = !stepState;
                        k_usleep (1000);
                }
        }
}
```

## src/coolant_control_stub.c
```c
#include "grbl.h"

void coolant_init () {}
uint8_t coolant_get_state () { return (COOLANT_STATE_DISABLE); }
void coolant_stop () {}
void coolant_set_state (uint8_t mode) {}
void coolant_sync (uint8_t mode) {}
```

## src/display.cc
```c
/****************************************************************************
 *                                                                          *
 *  Author : lukasz.iwaszkiewicz@gmail.com                                  *
 *  ~~~~~~~~                                                                *
 *  License : see COPYING file for details.                                 *
 *  ~~~~~~~~~                                                               *
 ****************************************************************************/

#include "display.h"
#include "Machine.h"
#include "cfb_font_oldschool.h"
#include "grblState.h"
#include "sdCard.h"
#include <array>
#include <optional>
#include <zephyr/device.h>
#include <zephyr/devicetree.h>
#include <zephyr/display/cfb.h>
#include <zephyr/drivers/gpio.h>
#include <zephyr/init.h>
#include <zephyr/kernel.h>
#include <zephyr/logging/log.h>

LOG_MODULE_REGISTER (display);

int sysInit ()
{
        /*
         * This is a hack to delay OLED screen initialization. Assumption is that CONFIG_DISPLAY_INIT_PRIORITY is
         * higher than 0. This works by adding a function with the same init level as the ssd1306 driver (POST_KERNEL)
         * but with lower priority number which makes it run prior the oled driver initialization. Suggestions as to
         * how to do it better are welcomed.
         */
        k_sleep (K_MSEC (50));
        return 0;
}

SYS_INIT (sysInit, POST_KERNEL, 0);

namespace {
void displayThread (void *, void *, void *);
K_THREAD_DEFINE (disp, 2048, displayThread, NULL, NULL, NULL, 14, 0, 0);
} // namespace

namespace disp {

namespace {
        const gpio_dt_spec encoderA = GPIO_DT_SPEC_GET (DT_PATH (ui_buttons, encoder_a), gpios);
        const gpio_dt_spec encoderB = GPIO_DT_SPEC_GET (DT_PATH (ui_buttons, encoder_b), gpios);
        const gpio_dt_spec encoderEnter = GPIO_DT_SPEC_GET (DT_PATH (ui_buttons, enter), gpios);
        const struct device *display{};
} // namespace

void init ()
{
        k_sleep (K_MSEC (10));

        display = device_get_binding ("SSD1306");

        if (display == NULL) {
                LOG_ERR ("Device not found\n");
                return;
        }

        if (!device_is_ready (display)) {
                LOG_ERR ("Device not ready, aborting test");
                return;
        }

        if (display_set_pixel_format (display, PIXEL_FORMAT_MONO10) != 0) {
                LOG_ERR ("Failed to set required pixel format\n");
                return;
        }

        if (cfb_framebuffer_init (display)) {
                LOG_ERR ("Framebuffer initialization failed!\n");
                return;
        }

        cfb_framebuffer_clear (display, true);
        display_blanking_off (display);

        cfb_framebuffer_set_font (disp::display, 0);
        cfb_framebuffer_invert (display);

        /*--------------------------------------------------------------------------*/

        if (!gpio_is_ready_dt (&encoderA)) {
                LOG_ERR ("encoderA !ready");
        }

        if (!gpio_is_ready_dt (&encoderB)) {
                LOG_ERR ("encoderB !ready");
        }

        if (!gpio_is_ready_dt (&encoderEnter)) {
                LOG_ERR ("encoderEnter !ready");
        }

        int ret = gpio_pin_configure_dt (&encoderA, GPIO_INPUT);
        ret |= gpio_pin_configure_dt (&encoderB, GPIO_INPUT);
        ret |= gpio_pin_configure_dt (&encoderEnter, GPIO_INPUT);

        if (ret != 0) {
                LOG_ERR ("Encoder init failed");
        }
}

} // namespace disp

/**
 * UI related.
 */
namespace {

enum class MenuType { main, jog, sdCard };

auto menu = [] (MenuType menuType, int selected) {
        cfb_framebuffer_clear (disp::display, false);
        uint16_t margin = 2;

        switch (menuType) {
        case MenuType::main:
                cfb_print (disp::display, "  Print from SD", margin, 0);
                cfb_print (disp::display, "  Jogging menu", margin, 8);
                break;

        case MenuType::jog:
                cfb_print (disp::display, "  Y+", margin, 0);
                cfb_print (disp::display, "  Y-", margin, 8);
                cfb_print (disp::display, "  X+", margin, 16);
                cfb_print (disp::display, "  X-", margin, 24);
                cfb_print (disp::display, "  Back", margin, 32);
                break;

        default:
                break;
        }

        cfb_print (disp::display, ">", 2, selected * 8);
        cfb_framebuffer_finalize (disp::display);
};

/**
 * Prints file entries from the SD.
 */
void sdMenu (int selected)
{
        cfb_framebuffer_clear (disp::display, false);
        uint16_t margin = 2;
        cfb_print (disp::display, "  Back", margin, 0);

        sd::lsdir ("");

        cfb_print (disp::display, ">", 2, selected * 8);
        cfb_framebuffer_finalize (disp::display);
}

/**
 *
 */
enum class Event { none, left, right, enter };

constexpr auto enter = [] (Event e) { return e == Event::enter; };
constexpr auto left = [] (Event e) { return e == Event::left; };
constexpr auto right = [] (Event e) { return e == Event::right; };

using namespace ls;
auto menuMachine = machine (
        /*--------------------------------------------------------------------------*/
        /* Main menu                                                                */
        /*--------------------------------------------------------------------------*/

        state ("MAIN_SD"_ST, entry ([] { menu (MenuType::main, 0); }), //
               transition ("MAIN_JOG"_ST, left),                       // Next menu item
               transition ("MAIN_JOG"_ST, right),                      // Prev menu item
               transition ("JOG_YP"_ST, enter)),                       // Enter

        state ("MAIN_JOG"_ST, entry ([] { menu (MenuType::main, 1); }), //
               transition ("MAIN_SD"_ST, left),                         // Next menu item
               transition ("MAIN_SD"_ST, right),                        // Prev menu item
               transition ("JOG_YP"_ST, enter)),                        // Enter

        /*--------------------------------------------------------------------------*/
        /* SD card menu                                                             */
        /*--------------------------------------------------------------------------*/

        state ("SD"_ST, entry ([] { sdMenu (0); }) //
               /* transition ("MAIN_SD"_ST, left),                   // Next menu item
               transition ("MAIN_SD"_ST, right),                  // Prev menu item
               transition ("JOG_YP"_ST, enter) */),                  // Enter

        /*--------------------------------------------------------------------------*/
        /* Jog menu                                                                 */
        /*--------------------------------------------------------------------------*/

        state ("JOG_YP"_ST, entry ([] { menu (MenuType::jog, 0); }), // Jog along Y axis in positive direction.
               transition ("JOG_YN"_ST, left),                       // Next menu item
               transition ("JOG_BACK"_ST, right),                    // Prev menu item
               transition ("JOG_YP"_ST, enter, [] (auto) { grbl::jog (grbl::JogDirection::yPositive); })),

        state ("JOG_YN"_ST, entry ([] { menu (MenuType::jog, 1); }), //
               transition ("JOG_XP"_ST, left),                       //
               transition ("JOG_YP"_ST, right),                      //
               transition ("JOG_YN"_ST, enter, [] (auto) { grbl::jog (grbl::JogDirection::yNegative); })),

        state ("JOG_XP"_ST, entry ([] { menu (MenuType::jog, 2); }), //
               transition ("JOG_XN"_ST, left),                       //
               transition ("JOG_YN"_ST, right),                      //
               transition ("JOG_XP"_ST, enter, [] (auto) { grbl::jog (grbl::JogDirection::xPositive); })),

        state ("JOG_XN"_ST, entry ([] { menu (MenuType::jog, 3); }),                                       //
               transition ("JOG_BACK"_ST, left),                                                           //
               transition ("JOG_XP"_ST, right),                                                            //
               transition ("JOG_XN"_ST, enter, [] (auto) { grbl::jog (grbl::JogDirection::yPositive); })), //

        state ("JOG_BACK"_ST, entry ([] { menu (MenuType::jog, 4); }), //
               transition ("JOG_YP"_ST, left),                         //
               transition ("JOG_XN"_ST, right),                        //
               transition ("MAIN_JOG"_ST, enter))                       //
);

void displayThread (void *, void *, void *)
{
        using namespace disp;

        init ();

        // Enter into initial state, and execute its entry state (that displays the menu).
        menuMachine.run (Event::none);
        bool prevE{};
        uint8_t state = 0x04;
        uint8_t output{};
        bool first = true;

        while (true) {
                constexpr std::array<std::array<uint8_t, 4>, 5> ENC = {{
                        {0x00, 0x01, 0x02, 0x01},
                        {0x10, 0x01, 0x01, 0x23},
                        {0x20, 0x01, 0x02, 0x13},
                        {0x01, 0x01, 0x02, 0x03},
                }};

                uint8_t event = gpio_pin_get_dt (&encoderB) << 1 | gpio_pin_get_dt (&encoderA);
                auto x = ENC[state][event];
                state = x & 0x03;

                if (!first) {
                        output = x & 0x30;
                }

                first = false;

                if (bool e = gpio_pin_get_dt (&encoderEnter); e != prevE) {
                        prevE = e;

                        if (e) {
                                menuMachine.run (Event::enter);
                        }
                }

                if (output == 0x20) {
                        menuMachine.run (Event::left);
                }
                else if (output == 0x10) {
                        menuMachine.run (Event::right);
                }

                k_sleep (K_MSEC (4));
        }
}
} // namespace
```

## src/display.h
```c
/****************************************************************************
 *                                                                          *
 *  Author : lukasz.iwaszkiewicz@gmail.com                                  *
 *  ~~~~~~~~                                                                *
 *  License : see COPYING file for details.                                 *
 *  ~~~~~~~~~                                                               *
 ****************************************************************************/

#pragma once

namespace disp {
void init ();
}
```

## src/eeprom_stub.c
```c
unsigned char eeprom_get_char (unsigned int addr) { return 0; }

/*! \brief  Write byte to EEPROM.
 *
 *  This function writes one byte to a given EEPROM address.
 *  The differences between the existing byte and the new value is used
 *  to select the most efficient EEPROM programming mode.
 *
 *  \note  The CPU is halted for 2 clock cycles during EEPROM programming.
 *
 *  \note  When this function returns, the new EEPROM value is not available
 *         until the EEPROM programming time has passed. The EEPE bit in EECR
 *         should be polled to check whether the programming is finished.
 *
 *  \note  The EEPROM_GetChar() function checks the EEPE bit automatically.
 *
 *  \param  addr  EEPROM address to write to.
 *  \param  new_value  New EEPROM value.
 */
void eeprom_put_char (unsigned int addr, unsigned char new_value) {}

// Extensions added as part of Grbl

void memcpy_to_eeprom_with_checksum (unsigned int destination, char *source, unsigned int size) {}

int memcpy_from_eeprom_with_checksum (char *destination, unsigned int source, unsigned int size) { return 1; }

// end of file
```
